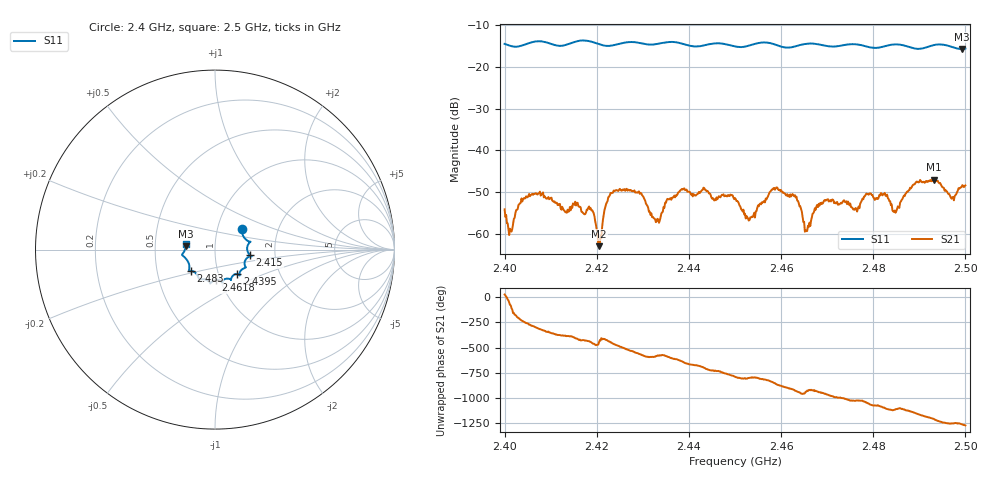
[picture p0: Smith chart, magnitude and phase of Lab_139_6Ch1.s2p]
# Hz S RI R 50
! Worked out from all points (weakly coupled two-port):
!   601 points, 2.4 GHz to 2.5 GHz, reference 50 ohm
!   highest |S21| = -46.98 dB at 2.4932 GHz (marker M1); lowest = -62.9 dB at 2.4205 GHz (marker M2)
!   lowest |S11| = -15.7 dB at 2.4992 GHz (marker M3), VSWR 1.39, Z = 36 + j1.35 ohm
!   |S11| at or under -10 dB: start of sweep to end of sweep
!   S12 and S22 are empty: the file has one direction only
!   S11 on the Smith chart (normalised r, x): 2.4 GHz: 1.31, +0.31; 2.415 GHz: 1.48, -0.10; 2.4395 GHz: 1.23, -0.34; 2.4618 GHz: 0.95, -0.33; 2.483 GHz: 0.74, -0.18; 2.5 GHz: 0.72, +0.05
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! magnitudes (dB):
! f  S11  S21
! 2.4 GHz  -14.5  -54.1
! 2.4013 GHz  -15.0  -59.3
! 2.4057 GHz  -14.2  -50.7
! 2.415 GHz  -14.1  -52.9
! 2.4167 GHz  -13.7  -54.7
! 2.4188 GHz  -14.0  -54.4
! 2.4205 GHz  -14.5  -62.9
! 2.4242 GHz  -14.7  -49.5
! 2.4295 GHz  -14.3  -50.2
! 2.4333 GHz  -14.4  -56.5
! 2.4395 GHz  -14.7  -49.4
! 2.45 GHz  -15.1  -51.4
! 2.4533 GHz  -14.8  -56.0
! 2.458 GHz  -14.4  -49.4
! 2.4618 GHz  -15.3  -51.2
! 2.4653 GHz  -14.5  -59.1
! 2.4667 GHz  -14.4  -56.1
! 2.483 GHz  -14.9  -50.6
! 2.4833 GHz  -14.8  -51.6
! 2.4932 GHz  -14.8  -47.0
! 2.4992 GHz  -15.7  -48.8
! 2.5 GHz  -15.6  -48.4
